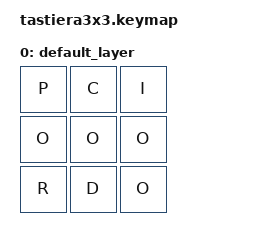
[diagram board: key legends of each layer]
#include <behaviors.dtsi>
#include <dt-bindings/zmk/keys.h>
#include <dt-bindings/zmk/bt.h>

/ {
    keymap {
        compatible = "zmk,keymap";

        default_layer {
            bindings = <
                &kp P      &kp C      &kp I
                &kp O      &kp O      &kp O
                &kp R      &kp D      &kp O
            >;
        };
    };
};
